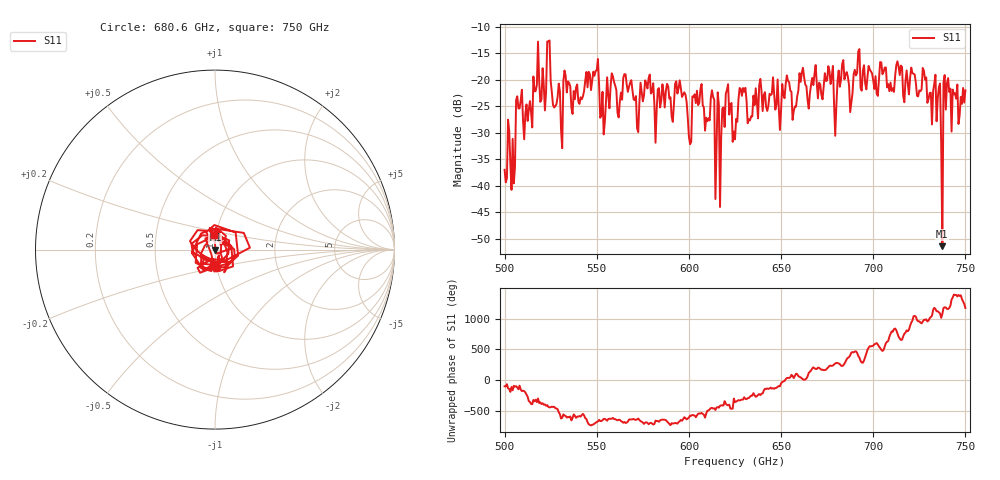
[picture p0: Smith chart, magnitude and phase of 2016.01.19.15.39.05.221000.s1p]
!Created with skrf (http://scikit-rf.org).
# GHz S RI R 50.0
!freq ReS11 ImS11
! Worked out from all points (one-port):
!   401 points, 500 GHz to 750 GHz, reference 50 ohm
!   lowest |S11| = -51.4 dB at 737.5 GHz (marker M1), VSWR 1.01, Z = 50.3 - j0.0233 ohm
!   |S11| at or under -10 dB: start of sweep to end of sweep
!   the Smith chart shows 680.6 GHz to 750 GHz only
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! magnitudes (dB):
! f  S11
! 500 GHz  -37.0
! 504.4 GHz  -31.2
! 507.5 GHz  -25.4
! 513.8 GHz  -24.0
! 523.8 GHz  -12.7
! 531.2 GHz  -32.9
! 549.4 GHz  -18.3
! 553.1 GHz  -22.3
! 558.8 GHz  -19.3
! 562.5 GHz  -24.1
! 593.8 GHz  -22.6
! 600 GHz  -30.8
! 605.6 GHz  -24.4
! 612.5 GHz  -22.0
! 615.6 GHz  -22.4
! 621.2 GHz  -20.8
! 625 GHz  -31.3
! 628.8 GHz  -23.0
! 633.1 GHz  -27.7
! 656.2 GHz  -27.6
! 661.2 GHz  -18.6
! 687.5 GHz  -26.1
! 691.2 GHz  -18.7
! 718.8 GHz  -20.7
! 735 GHz  -23.5
! 737.5 GHz  -51.4
! 739.4 GHz  -25.6
! 750 GHz  -22.0
